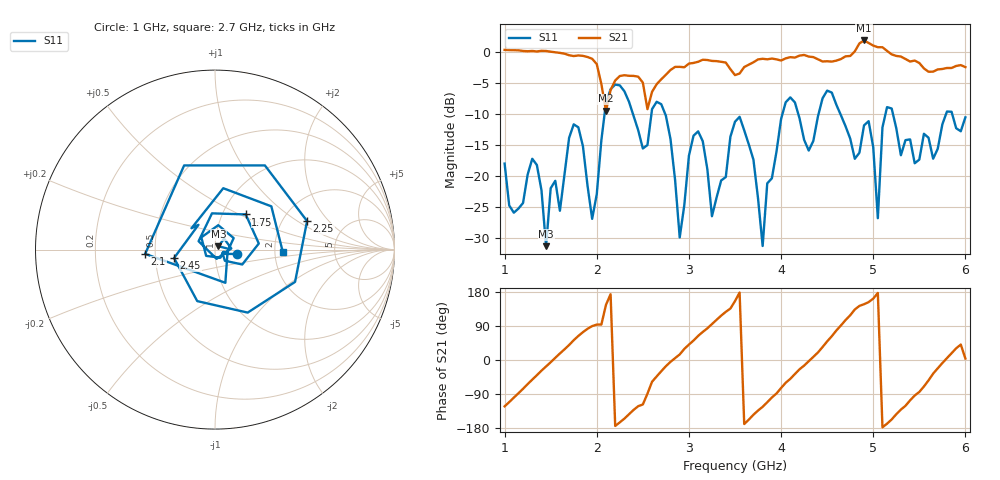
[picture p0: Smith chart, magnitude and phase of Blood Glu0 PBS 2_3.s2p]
! NanoVNA-App
! Date: 2024-03-20 21:10:50
! Start: 1GHz Stop: 6GHz Points: 101
! S-Parameter data: F S11 S21 S12 S22
# Hz S RI R 50
!	Frequency	S11_Real	S11_Imag	S21_Real	S21_Imag	S12_Real	S12_Imag	S22_Real	S22_Imag
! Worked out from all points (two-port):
!   101 points, 1 GHz to 6 GHz, reference 50 ohm
!   highest |S21| = 1.85 dB at 4.9 GHz (marker M1); lowest = -9.5 dB at 2.1 GHz (marker M2)
!   |S21| within 3 dB of the highest: start of sweep to 1.952 GHz; 4.65 GHz to 5.351 GHz (700.7 MHz wide, 14 % of centre)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
!   lowest |S11| = -31.4 dB at 1.45 GHz (marker M3), VSWR 1.06, Z = 51.9 + j1.97 ohm
!   |S11| at or under -10 dB: start of sweep to 2.085 GHz; 2.742 GHz to 4.016 GHz (1.274 GHz wide, 37.7 % of centre); 5.214 GHz to 5.791 GHz (577.3 MHz wide, 10.5 % of centre)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
!   S12 and S22 are empty: the file has one direction only
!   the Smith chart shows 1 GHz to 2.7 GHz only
!   S11 on the Smith chart (normalised r, x): 1 GHz: 1.28, -0.06; 1.75 GHz: 1.28, +0.54; 2.1 GHz: 0.44, -0.02; 2.25 GHz: 2.71, +1.21; 2.45 GHz: 0.63, -0.06; 2.7 GHz: 2.21, -0.07
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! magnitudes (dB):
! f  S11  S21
! 1 GHz  -18.0  0.3
! 1.35 GHz  -18.3  0.1
! 1.45 GHz  -31.4  0.2
! 1.75 GHz  -11.7  -0.7
! 1.85 GHz  -15.2  -0.6
! 1.95 GHz  -27.0  -1.1
! 2.1 GHz  -8.2  -9.5
! 2.25 GHz  -5.4  -3.9
! 2.45 GHz  -12.7  -4.0
! 2.7 GHz  -8.4  -4.4
! 2.9 GHz  -30.0  -2.4
! 3.05 GHz  -13.5  -1.8
! 3.25 GHz  -26.5  -1.5
! 3.5 GHz  -11.3  -3.7
! 3.8 GHz  -31.3  -1.1
! 4.05 GHz  -8.1  -1.0
! 4.35 GHz  -14.4  -0.8
! 4.9 GHz  -11.9  1.9
! 5.05 GHz  -26.9  0.8
! 5.1 GHz  -12.2  0.8
! 5.2 GHz  -9.1  -0.4
! 6 GHz  -10.6  -2.5
